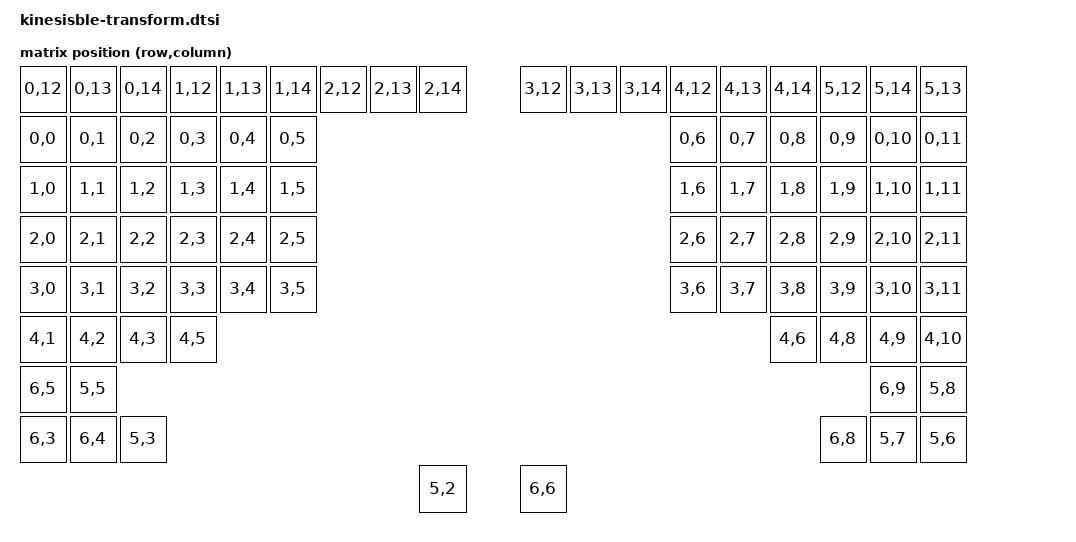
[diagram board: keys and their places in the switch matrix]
/*
 * Copyright (c) 2021 The ZMK Contributors
 *
 * SPDX-License-Identifier: MIT
 */

/* Matrix transform for the Kinesis Advantage 2; shared by the shield and the keymap tests. */

#include <dt-bindings/zmk/matrix_transform.h>

/ {
    //
    // Matrix layout from:
    // https: //web.archive.org/web/20201101000000*/http: //humblehacker.com/blog/20100720/hacking-the-kinesis-contoured-keyboard/
    //        0    1    2    3    4    5    6    7    8    9    10    11    12    13    14
    // 0    =    1    2    3    4    5    6    7    8    9    0    -    ESC    F1    F2
    // 1    TB    Q    W    E    R    T    Y    U    I    O    P        F3    F4    F5
    // 2    CP    A    S    D    F    G    H    J    K    L    ;    ‘    F6    F7    F8
    // 3    LS    Z    X    C    V    B    N    M    ,    .    /    RS    F9    F10    F11
    // 4    X2    `    IN    LT        RT    UP        DN    [    ]    X1    F12    PS    SL
    // 5            SL1    SL2        SL5    SR4    SR3    SR6                PB    PG    KY
    // 6                SL4    SL3    SL6    SR1        SR2    SR5
    //
    default_transform: keymap_transform_0 {
        compatible = "zmk,matrix-transform";
        columns = <15>;
        rows = <7>;
        map = <
        RC(0,12)  RC(0,13)  RC(0,14)  RC(1,12)  RC(1,13)  RC(1,14)  RC(2,12)  RC(2,13)  RC(2,14) RC(3,12)  RC(3,13)  RC(3,14)  RC(4,12)  RC(4,13)  RC(4,14)  RC(5,12)  RC(5,14)  RC(5,13)
        RC(0,0)  RC(0,1)  RC(0,2)  RC(0,3)  RC(0,4)  RC(0,5)             RC(0,6)  RC(0,7)  RC(0,8)  RC(0,9)  RC(0,10)  RC(0,11)
        RC(1,0)  RC(1,1)  RC(1,2)  RC(1,3)  RC(1,4)  RC(1,5)             RC(1,6)  RC(1,7)  RC(1,8)  RC(1,9)  RC(1,10)  RC(1,11)
        RC(2,0)  RC(2,1)  RC(2,2)  RC(2,3)  RC(2,4)  RC(2,5)             RC(2,6)  RC(2,7)  RC(2,8)  RC(2,9)  RC(2,10)  RC(2,11)
        RC(3,0)  RC(3,1)  RC(3,2)  RC(3,3)  RC(3,4)  RC(3,5)             RC(3,6)  RC(3,7)  RC(3,8)  RC(3,9)  RC(3,10)  RC(3,11)
        RC(4,1)  RC(4,2)  RC(4,3)  RC(4,5)             RC(4,6)  RC(4,8)  RC(4,9)  RC(4,10)
        RC(6,5)  RC(5,5)             RC(6,9)  RC(5,8)
        RC(6,3)  RC(6,4)  RC(5,3)             RC(6,8)  RC(5,7)  RC(5,6)
        RC(5,2)             RC(6,6)
        >;
    };
};
